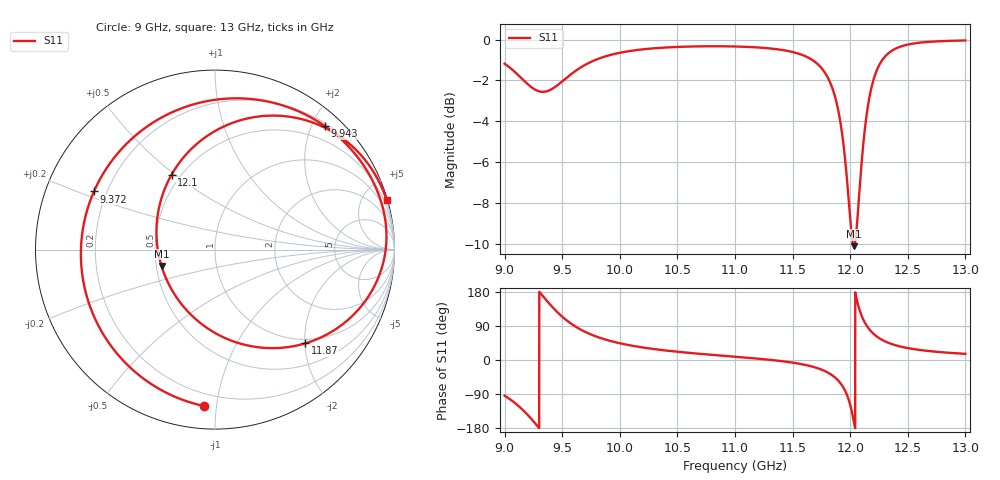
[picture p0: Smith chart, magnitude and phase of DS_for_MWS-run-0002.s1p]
! TOUCHSTONE file generated by CST DESIGN STUDIO
! Date and time: Tue Feb  4 18:29:36 2025
! Project name: C:\Work\MatlabApps\UnitCellOptimizationMatlab\CST\unitcell.cst
! Tree item: Tasks\Sweep1\SPara1\S-Parameters
! Header version: 2024
! Port assignment regex: !\s*Touchstone port\s*([0-9]+)\s*=\s*(CST MWS port|CST DES external port|CST DES block port)\s*(.+)\s* \(\"(.*)\"\)(\s*mode\s*([0-9]+))?.*
! Touchstone port assignment:
! Touchstone port 1 = CST DES external port 1 ("")
# GHz S MA R 50
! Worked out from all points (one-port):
!   4001 points, 9 GHz to 13 GHz, reference 50 ohm
!   lowest |S11| = -10.1 dB at 12.03 GHz (marker M1), VSWR 1.91, Z = 26.7 - j5.4 ohm
!   |S11| at or under -10 dB: 12.02338 GHz to 12.04068 GHz (17.3 MHz wide, 0.144 % of centre)
!   S11 on the Smith chart (normalised r, x): 9 GHz: 0.13, -0.92; 9.372 GHz: 0.15, +0.22; 9.943 GHz: 0.24, +2.21; 11.87 GHz: 0.91, -2.01; 12.1 GHz: 0.45, +0.49; 13 GHz: 0.11, +7.00
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9  0.8732 -94.2
9.117  0.8193 -120.4
9.23  0.7658 -154.8
9.301  0.7469 180.0
9.372  0.7482 154.3
9.437  0.7653 132.6
9.5  0.7901 114.4
9.595  0.8302 92.2
9.715  0.8724 72.0
9.943  0.9211 48.3
10  0.9287 44.2
10.216  0.9479 32.3
10.5  0.9598 21.8
11  0.9622 8.7
11.5  0.9327 -6.9
11.729  0.8651 -22.9
11.805  0.808 -33.0
11.868  0.7253 -46.1
11.943  0.5494 -73.7
12  0.3642 -118.4
12.032  0.3118 -162.9
12.063  0.3645 152.2
12.095  0.4827 120.1
12.146  0.6649 89.3
12.205  0.8022 68.4
12.326  0.9233 46.0
12.5  0.9727 31.4
13  0.9955 16.3
